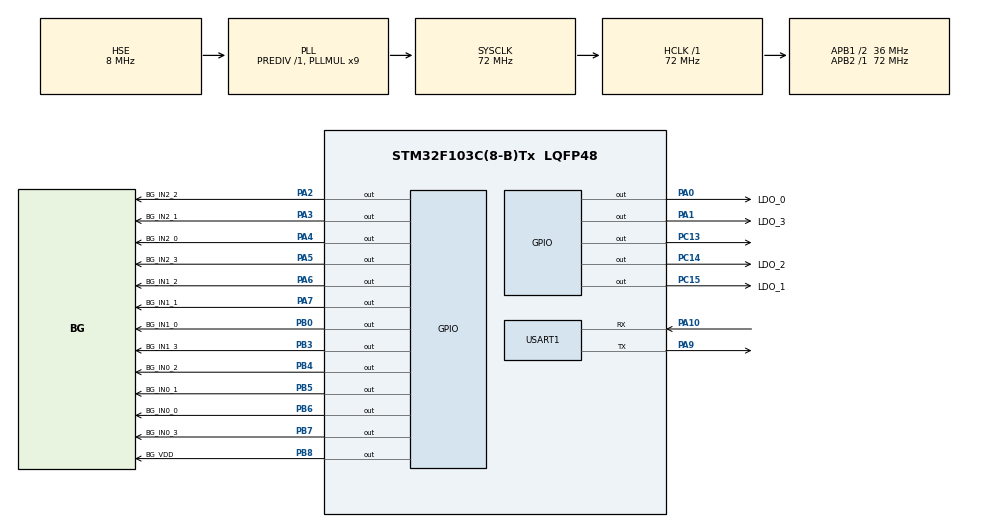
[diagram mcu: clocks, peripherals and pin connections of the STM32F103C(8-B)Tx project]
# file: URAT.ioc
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Mcu.Family=STM32F1
Mcu.Name=STM32F103C(8-B)Tx
Mcu.Package=LQFP48
NVIC.PriorityGroup=NVIC_PRIORITYGROUP_4
NVIC.TIM1_UP_IRQn=true\:0\:0\:false\:false\:true\:true\:true
NVIC.USART1_IRQn=true\:0\:0\:false\:false\:true\:true\:true
PA0-WKUP.GPIO_Label=LDO_0
PA0-WKUP.Signal=GPIO_Output
PA1.GPIO_Label=LDO_3
PA1.Signal=GPIO_Output
PA10.Mode=Asynchronous
PA10.Signal=USART1_RX
PA13.Mode=Serial_Wire
PA13.Signal=SYS_JTMS-SWDIO
PA14.Mode=Serial_Wire
PA14.Signal=SYS_JTCK-SWCLK
PA2.GPIO_Label=BG_IN2_2
PA2.Signal=GPIO_Output
PA3.GPIO_Label=BG_IN2_1
PA3.Signal=GPIO_Output
PA4.GPIO_Label=BG_IN2_0
PA4.Signal=GPIO_Output
PA5.GPIO_Label=BG_IN2_3
PA5.Signal=GPIO_Output
PA6.GPIO_Label=BG_IN1_2
PA6.Signal=GPIO_Output
PA7.GPIO_Label=BG_IN1_1
PA7.Signal=GPIO_Output
PA9.Mode=Asynchronous
PA9.Signal=USART1_TX
PB0.GPIO_Label=BG_IN1_0
PB0.Signal=GPIO_Output
PB3.GPIO_Label=BG_IN1_3
PB3.Signal=GPIO_Output
PB4.GPIO_Label=BG_IN0_2
PB4.Signal=GPIO_Output
PB5.GPIO_Label=BG_IN0_1
PB5.Signal=GPIO_Output
PB6.GPIO_Label=BG_IN0_0
PB6.Signal=GPIO_Output
PB7.GPIO_Label=BG_IN0_3
PB7.Signal=GPIO_Output
PB8.GPIO_Label=BG_VDD
PB8.Signal=GPIO_Output
PC13-TAMPER-RTC.Signal=GPIO_Output
PC14-OSC32_IN.GPIO_Label=LDO_2
PC14-OSC32_IN.Signal=GPIO_Output
PC15-OSC32_OUT.GPIO_Label=LDO_1
PC15-OSC32_OUT.Signal=GPIO_Output
PD0-OSC_IN.Mode=HSE-External-Oscillator
PD0-OSC_IN.Signal=RCC_OSC_IN
PD1-OSC_OUT.Mode=HSE-External-Oscillator
PD1-OSC_OUT.Signal=RCC_OSC_OUT
ProjectManager.HeapSize=0x200
ProjectManager.StackSize=0x400
ProjectManager.TargetToolchain=MDK-ARM V5.27
RCC.AHBFreq_Value=72000000
RCC.APB1CLKDivider=RCC_HCLK_DIV2
RCC.APB1Freq_Value=36000000
RCC.APB1TimFreq_Value=72000000
RCC.APB2Freq_Value=72000000
RCC.APB2TimFreq_Value=72000000
RCC.HCLKFreq_Value=72000000
RCC.PLLMUL=RCC_PLL_MUL9
RCC.PLLSourceVirtual=RCC_PLLSOURCE_HSE
RCC.SYSCLKFreq_VALUE=72000000
RCC.SYSCLKSource=RCC_SYSCLKSOURCE_PLLCLK
RCC.USBFreq_Value=72000000
TIM1.Period=2000-1
TIM1.Prescaler=36000-1
USART1.VirtualMode=VM_ASYNC
VP_TIM1_VS_ClockSourceINT.Mode=Internal
board=custom

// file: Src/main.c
/* USER CODE BEGIN Header */
/**
  ******************************************************************************
  * @file           : main.c
  * @brief          : Main program body
  ******************************************************************************
  * @attention
  *
  * Copyright (c) 2023 STMicroelectronics.
  * All rights reserved.
  *
  * This software is licensed under terms that can be found in the LICENSE file
  * in the root directory of this software component.
  * If no LICENSE file comes with this software, it is provided AS-IS.
  *
  ******************************************************************************
  */
/* USER CODE END Header */
#include "main.h"

/* USER CODE BEGIN Includes */

#include "string.h"
#include "stdlib.h"
/* USER CODE END Includes */

TIM_HandleTypeDef htim1;

UART_HandleTypeDef huart1;

/* USER CODE BEGIN PV */
#define RXBUFFERSIZE  1024

//如果需要开启print，就取消DEBUG注释
#define DEBUG

char rec_buffer[RXBUFFERSIZE];
char mode[128];
char setting[1024];

uint8_t Uart1_Rx_Cnt = 0;
uint8_t aRxBuffer;

// 定义16位位域结构体
typedef struct {
    unsigned int R3_IN0 : 1;  // 最低位 (Bit 0)
    unsigned int R3_IN1 : 1;  // Bit 1
    unsigned int R3_IN2 : 1;  // Bit 2
    unsigned int R3_IN3 : 1;  // Bit 3
    unsigned int R2_IN0 : 1;  // Bit 4
    unsigned int R2_IN1 : 1;  // Bit 5
    unsigned int R2_IN2 : 1;  // Bit 6
    unsigned int R2_IN3 : 1;  // Bit 7
    unsigned int R1_IN0 : 1;  // Bit 8
    unsigned int R1_IN1 : 1;  // Bit 9
    unsigned int R1_IN2 : 1;  // Bit 10
    unsigned int R1_IN3 : 1;  // Bit 11
    unsigned int LDO0  : 1;   // Bit 12
    unsigned int LDO1  : 1;   // Bit 13
    unsigned int LDO2  : 1;   // Bit 14
    unsigned int LDO3  : 1;   // 最高位 (Bit 15)
} TrimBits16;

typedef union {
    uint16_t value;
    TrimBits16 bits;
} TrimRegister16;
/* USER CODE END PV */

void SystemClock_Config(void);
static void MX_GPIO_Init(void);
static void MX_USART1_UART_Init(void);
static void MX_TIM1_Init(void);

/* USER CODE BEGIN 0 */
#include "stdio.h"
#ifdef __GNUC__
#define PUTCHAR_PROTOTYPE int __io_putchar(int ch)
#else
#define PUTCHAR_PROTOTYPE int fputc(int ch, FILE *f)
#endif
PUTCHAR_PROTOTYPE
{
    HAL_UART_Transmit(&huart1 , (uint8_t *)&ch, 1, 0xFFFF);
    return ch;
}
int fgetc(FILE *f)
{
  uint8_t ch = 0;
  HAL_UART_Receive(&huart1, &ch, 1, 0xffff);
  return ch;
}

/**
 * @brief 分割字符串函数
 * @param str 输入字符串
 * @param strLen 输入字符串长度
 * @param splitChar 分隔符字符串
 * @param index 要获取的分段索引（从1开始）
 * @param result 存储结果的缓冲区
 * @param maxLen 结果缓冲区的最大长度
 * @return 成功返回分段长度，失败返回错误码
 */
int split(const char* str, int strLen, const char* splitChar, int index, char* result, int maxLen)
{
    int i = 0;              // 循环索引
    int ret = 0;            // 返回值
    int findLen = 0;        // 可搜索的长度
    int findFlag = 0;       // 查找状态标志
    int startIndex = 0;     // 分段起始位置
    int splitCharLen = 0;   // 分隔符长度

    // 参数检查：输入字符串、结果缓冲区、分隔符不能为空，索引必须大于0
    if(NULL == str || NULL == result || NULL == splitChar || index <= 0)
    {
        return -1;  // 参数错误
    }

    // 获取分隔符长度
    splitCharLen = strlen(splitChar);

    // 计算可搜索的长度（总长度减去分隔符长度）
    findLen = strLen - splitCharLen;
    if(findLen < 0)
    {
        return -2;  // 字符串长度不足
    }

    // 遍历字符串查找分隔符
    for(; i <= findLen && str[i] != '\0'; i++)
    {
        // 检查当前位置是否匹配分隔符
        if(strncmp(&str[i], splitChar, splitCharLen) == 0)
        {
            if(0 == findFlag)  // 第一次找到分隔符（查找左边界）
            {
                startIndex++;  // 分隔符计数增加

                if(1 == index)  // 如果是第一个分段
                {
                    // 复制从开始到当前分隔符之前的内容
                    strncpy(result, &str[0], i);
                    ret = i;    // 返回分段长度
                    break;      // 结束循环
                }
                else if(startIndex + 1 == index)  // 找到目标分段的前一个分隔符
                {
                    startIndex = i;  // 记录分段起始位置（当前分隔符位置）
                    findFlag = 1;    // 设置标志，表示已找到左边界
                }
            }
            else  // 已经找到左边界，现在查找右边界（下一个分隔符）
            {
                findFlag = 2;  // 设置标志，表示已找到右边界
                break;         // 结束循环
            }
        }
    }

    // 处理找到的分段
    if(0 != findFlag && startIndex < strLen - 1)
    {
        // 计算分段长度（右边界位置 - 左边界位置 - 1）
        ret = i - startIndex - 1;

        // 检查长度是否超出缓冲区或字符串范围
        if(ret > maxLen || ret > strLen)
        {
            ret = 0;  // 长度超出限制
        }
        else if(ret > 0)
        {
            // 复制分段内容到结果缓冲区（从左边界+1开始）
            strncpy(result, &str[startIndex + 1], ret);
            ret = strlen(result);  // 返回实际复制的内容长度
        }
    }

    return ret;  // 返回结果长度或错误码
}

void POWER_control(GPIO_TypeDef *GPIOx ,uint16_t PIN_NUM,int State)
{
	if(State == 1)
	{
		//printf("ON\r\n");
		HAL_GPIO_WritePin(GPIOx,PIN_NUM,GPIO_PIN_SET);
	}
	else if(State == 0)
	{
		//printf("OFF\r\n");
		HAL_GPIO_WritePin(GPIOx,PIN_NUM,GPIO_PIN_RESET);
	}
}

// 全局变量保存上一次的setting值
static uint16_t last_setting = 0x0000; // 初始化为不可能的值
// 自定义字符检查函数
int isDigit(char c) {
    return (c >= '0' && c <= '9');
}

int isHexDigit(char c) {
    return (c >= '0' && c <= '9') ||
           (c >= 'a' && c <= 'f') ||
           (c >= 'A' && c <= 'F');
}

// 检查字符串是否为数字（十进制或十六进制）
int isNumericString(const char* str) {
    if (str == NULL || *str == '\0') {
        return 0;
    }

    // 检查十六进制格式
    if (str[0] == '0' && (str[1] == 'x' || str[1] == 'X')) {
        // 检查十六进制数字
        for (int i = 2; str[i] != '\0'; i++) {
            if (!isHexDigit(str[i])) {
                return 0;
            }
        }
        return 1;
    }

    // 检查十进制数字
    for (int i = 0; str[i] != '\0'; i++) {
        if (!isDigit(str[i])) {
            return 0;
        }
    }
    return 1;
}

// 去除字符串末尾的空白字符（换行符、空格等）
void trimWhitespace(char* str) {
    if (str == NULL) return;

    int len = strlen(str);
    while (len > 0 && (str[len-1] == '\n' || str[len-1] == '\r' || str[len-1] == ' ' || str[len-1] == '\t')) {
        str[len-1] = '\0';
        len--;
    }
}

// 根据reg.bits设置所有GPIO状态
void applyTrimSettings(TrimRegister16 reg) {
    // BG_VDD_Pin - 通常总是使能，或者根据需要控制
    POWER_control(GPIOB, BG_VDD_Pin, 1); // 总是使能BG_VDD

    // BG_IN0 组 (对应 R3_INx, Bits 0-3)
    POWER_control(GPIOB, BG_IN0_0_Pin, reg.bits.R3_IN0);
    POWER_control(GPIOB, BG_IN0_1_Pin, reg.bits.R3_IN1);
    POWER_control(GPIOB, BG_IN0_2_Pin, reg.bits.R3_IN2);
    POWER_control(GPIOB, BG_IN0_3_Pin, reg.bits.R3_IN3);

    // BG_IN1 组 (对应 R2_INx, Bits 4-7)
    POWER_control(GPIOB, BG_IN1_0_Pin, reg.bits.R2_IN0);
    POWER_control(GPIOA, BG_IN1_1_Pin, reg.bits.R2_IN1);
    POWER_control(GPIOA, BG_IN1_2_Pin, reg.bits.R2_IN2);
    POWER_control(GPIOB, BG_IN1_3_Pin, reg.bits.R2_IN3);

    // BG_IN2 组 (对应 R1_INx, Bits 8-11)
    POWER_control(GPIOA, BG_IN2_0_Pin, reg.bits.R1_IN0);
    POWER_control(GPIOA, BG_IN2_1_Pin, reg.bits.R1_IN1);
    POWER_control(GPIOA, BG_IN2_2_Pin, reg.bits.R1_IN2);
    POWER_control(GPIOA, BG_IN2_3_Pin, reg.bits.R1_IN3);

    // LDO 组 (Bits 12-15)
    POWER_control(GPIOA, LDO_0_Pin, reg.bits.LDO0);
    POWER_control(GPIOC, LDO_1_Pin, reg.bits.LDO1);
    POWER_control(GPIOC, LDO_2_Pin, reg.bits.LDO2);
    POWER_control(GPIOA, LDO_3_Pin, reg.bits.LDO3);
}

void processTrimSetting(const char* mode, const char* setting_str) {
    // 创建setting_str的副本并去除空白字符
    char clean_setting[20];
    strncpy(clean_setting, setting_str, sizeof(clean_setting) - 1);
    clean_setting[sizeof(clean_setting) - 1] = '\0';
    trimWhitespace(clean_setting);

    // 检查是否为有效的数字字符串
    if (!isNumericString(clean_setting)) {
        printf("Error: Invalid numeric string '%s'\n", clean_setting);
        return;
    }

    // 使用strtoul转换字符串为数值
    char* endptr;
    unsigned long value = strtoul(clean_setting, &endptr, 0); // 自动检测进制

    // 检查转换错误
    if (endptr == clean_setting || *endptr != '\0') {
        printf("Error: Invalid number format '%s'\n", clean_setting);
        return;
    }

    // 检查范围（0-65535）
    if (value > 0xFFFF) {
        printf("Error: Value out of range (0-65535): %s\n", clean_setting);
        return;
    }

    uint16_t setting = (uint16_t)value;

    // 检查setting是否变化
    if (setting == last_setting) {
        return;
    }

    // 更新上一次的值
    last_setting = setting;

    // 创建TrimRegister并设置值
    TrimRegister16 reg;
    reg.value = setting;

		// 应用硬件设置
    applyTrimSettings(reg);

    // 打印结果
		#if defined(DEBUG)
			printf("\n=== New Setting Received ===\n");
			printf("Mode: %s\n", mode);
			printf("Setting string: '%s'\n", clean_setting);
			printf("16-bit value: %u (0x%04X)\n", reg.value, reg.value);
			printf("Binary: ");

			// 打印二进制表示（从最高位到最低位，16位）
			for (int i = 15; i >= 0; i--) {
					printf("%d", (reg.value >> i) & 1);
					if (i % 4 == 0 && i != 0) printf(" ");
			}
			printf("\n\n");

			// 使用位域访问每一位
			printf("Bit Allocation:\n");
			printf("LDO3   (Bit 15): %d\n", reg.bits.LDO3);
			printf("LDO2   (Bit 14): %d\n", reg.bits.LDO2);
			printf("LDO1   (Bit 13): %d\n", reg.bits.LDO1);
			printf("LDO0   (Bit 12): %d\n", reg.bits.LDO0);
			printf("R1_IN3 (Bit 11): %d\n", reg.bits.R1_IN3);
			printf("R1_IN2 (Bit 10): %d\n", reg.bits.R1_IN2);
			printf("R1_IN1 (Bit 9):  %d\n", reg.bits.R1_IN1);
			printf("R1_IN0 (Bit 8):  %d\n", reg.bits.R1_IN0);
			printf("R2_IN3 (Bit 7):  %d\n", reg.bits.R2_IN3);
			printf("R2_IN2 (Bit 6):  %d\n", reg.bits.R2_IN2);
			printf("R2_IN1 (Bit 5):  %d\n", reg.bits.R2_IN1);
			printf("R2_IN0 (Bit 4):  %d\n", reg.bits.R2_IN0);
			printf("R3_IN3 (Bit 3):  %d\n", reg.bits.R3_IN3);
			printf("R3_IN2 (Bit 2):  %d\n", reg.bits.R3_IN2);
			printf("R3_IN1 (Bit 1):  %d\n", reg.bits.R3_IN1);
			printf("R3_IN0 (Bit 0):  %d\n", reg.bits.R3_IN0);
			printf("================================\n");
		#endif
}

/* USER CODE END 0 */

int main(void)
{

  /* MCU Configuration--------------------------------------------------------*/

  /* Reset of all peripherals, Initializes the Flash interface and the Systick. */
  HAL_Init();

  /* Configure the system clock */
  SystemClock_Config();

  /* Initialize all configured peripherals */
  MX_GPIO_Init();
  MX_USART1_UART_Init();
  MX_TIM1_Init();
  /* USER CODE BEGIN 2 */
	HAL_TIM_Base_Start_IT(&htim1);
	UART_Start_Receive_IT(&huart1,(uint8_t *)&aRxBuffer,1);
	printf("Start Up\r\n");
	printf("20250915 Version\r\n");

  /* USER CODE END 2 */

  /* Infinite loop */
  while (1)
  {

    /* USER CODE BEGIN 3 */

		if(strstr(mode,"Trim")!=NULL)// judge if Trim
	 /**
	 * @brief 判断是否mode是Trim
	 * @param setting 输入字符串,可以是0-65535十进制，也可以是0x0000-0xFFFF二进制
	 * @example Trim:0\n
							Trim:4095\r\n
							Trim:0x1234
							Trim:65535\t
							Trim:0x00FF\n
							Trim:0\n
	 */

		{
			processTrimSetting(mode, setting);

		}

		HAL_Delay(1000);

  }
  /* USER CODE END 3 */
}

void SystemClock_Config(void)
{
  RCC_OscInitTypeDef RCC_OscInitStruct = {0};
  RCC_ClkInitTypeDef RCC_ClkInitStruct = {0};

  /** Initializes the RCC Oscillators according to the specified parameters
  * in the RCC_OscInitTypeDef structure.
  */
  RCC_OscInitStruct.OscillatorType = RCC_OSCILLATORTYPE_HSE;
  RCC_OscInitStruct.HSEState = RCC_HSE_ON;
  RCC_OscInitStruct.HSEPredivValue = RCC_HSE_PREDIV_DIV1;
  RCC_OscInitStruct.HSIState = RCC_HSI_ON;
  RCC_OscInitStruct.PLL.PLLState = RCC_PLL_ON;
  RCC_OscInitStruct.PLL.PLLSource = RCC_PLLSOURCE_HSE;
  RCC_OscInitStruct.PLL.PLLMUL = RCC_PLL_MUL9;
  if (HAL_RCC_OscConfig(&RCC_OscInitStruct) != HAL_OK)
  {
    Error_Handler();
  }
  /** Initializes the CPU, AHB and APB buses clocks
  */
  RCC_ClkInitStruct.ClockType = RCC_CLOCKTYPE_HCLK|RCC_CLOCKTYPE_SYSCLK
                              |RCC_CLOCKTYPE_PCLK1|RCC_CLOCKTYPE_PCLK2;
  RCC_ClkInitStruct.SYSCLKSource = RCC_SYSCLKSOURCE_PLLCLK;
  RCC_ClkInitStruct.AHBCLKDivider = RCC_SYSCLK_DIV1;
  RCC_ClkInitStruct.APB1CLKDivider = RCC_HCLK_DIV2;
  RCC_ClkInitStruct.APB2CLKDivider = RCC_HCLK_DIV1;

  if (HAL_RCC_ClockConfig(&RCC_ClkInitStruct, FLASH_LATENCY_2) != HAL_OK)
  {
    Error_Handler();
  }
}

static void MX_TIM1_Init(void)
{

  TIM_ClockConfigTypeDef sClockSourceConfig = {0};
  TIM_MasterConfigTypeDef sMasterConfig = {0};

  htim1.Instance = TIM1;
  htim1.Init.Prescaler = 36000-1;
  htim1.Init.CounterMode = TIM_COUNTERMODE_UP;
  htim1.Init.Period = 2000-1;
  htim1.Init.ClockDivision = TIM_CLOCKDIVISION_DIV1;
  htim1.Init.RepetitionCounter = 0;
  htim1.Init.AutoReloadPreload = TIM_AUTORELOAD_PRELOAD_DISABLE;
  if (HAL_TIM_Base_Init(&htim1) != HAL_OK)
  {
    Error_Handler();
  }
  sClockSourceConfig.ClockSource = TIM_CLOCKSOURCE_INTERNAL;
  if (HAL_TIM_ConfigClockSource(&htim1, &sClockSourceConfig) != HAL_OK)
  {
    Error_Handler();
  }
  sMasterConfig.MasterOutputTrigger = TIM_TRGO_RESET;
  sMasterConfig.MasterSlaveMode = TIM_MASTERSLAVEMODE_DISABLE;
  if (HAL_TIMEx_MasterConfigSynchronization(&htim1, &sMasterConfig) != HAL_OK)
  {
    Error_Handler();
  }

}

static void MX_USART1_UART_Init(void)
{

  huart1.Instance = USART1;
  huart1.Init.BaudRate = 115200;
  huart1.Init.WordLength = UART_WORDLENGTH_8B;
  huart1.Init.StopBits = UART_STOPBITS_1;
  huart1.Init.Parity = UART_PARITY_NONE;
  huart1.Init.Mode = UART_MODE_TX_RX;
  huart1.Init.HwFlowCtl = UART_HWCONTROL_NONE;
  huart1.Init.OverSampling = UART_OVERSAMPLING_16;
  if (HAL_UART_Init(&huart1) != HAL_OK)
  {
    Error_Handler();
  }

}

static void MX_GPIO_Init(void)
{
  GPIO_InitTypeDef GPIO_InitStruct = {0};

  /* GPIO Ports Clock Enable */
  __HAL_RCC_GPIOC_CLK_ENABLE();
  __HAL_RCC_GPIOD_CLK_ENABLE();
  __HAL_RCC_GPIOA_CLK_ENABLE();
  __HAL_RCC_GPIOB_CLK_ENABLE();

  /*Configure GPIO pin Output Level */
  HAL_GPIO_WritePin(GPIOC, GPIO_PIN_13|LDO_2_Pin|LDO_1_Pin, GPIO_PIN_RESET);

  /*Configure GPIO pin Output Level */
  HAL_GPIO_WritePin(GPIOA, LDO_0_Pin|LDO_3_Pin|BG_IN2_2_Pin|BG_IN2_1_Pin
                          |BG_IN2_0_Pin|BG_IN2_3_Pin|BG_IN1_2_Pin|BG_IN1_1_Pin, GPIO_PIN_RESET);

  /*Configure GPIO pin Output Level */
  HAL_GPIO_WritePin(GPIOB, BG_IN1_0_Pin|BG_IN1_3_Pin|BG_IN0_2_Pin|BG_IN0_1_Pin
                          |BG_IN0_0_Pin|BG_IN0_3_Pin|BG_VDD_Pin, GPIO_PIN_RESET);

  /*Configure GPIO pins : PC13 LDO_2_Pin LDO_1_Pin */
  GPIO_InitStruct.Pin = GPIO_PIN_13|LDO_2_Pin|LDO_1_Pin;
  GPIO_InitStruct.Mode = GPIO_MODE_OUTPUT_PP;
  GPIO_InitStruct.Pull = GPIO_NOPULL;
  GPIO_InitStruct.Speed = GPIO_SPEED_FREQ_LOW;
  HAL_GPIO_Init(GPIOC, &GPIO_InitStruct);

  /*Configure GPIO pins : LDO_0_Pin LDO_3_Pin BG_IN2_2_Pin BG_IN2_1_Pin
                           BG_IN2_0_Pin BG_IN2_3_Pin BG_IN1_2_Pin BG_IN1_1_Pin */
  GPIO_InitStruct.Pin = LDO_0_Pin|LDO_3_Pin|BG_IN2_2_Pin|BG_IN2_1_Pin
                          |BG_IN2_0_Pin|BG_IN2_3_Pin|BG_IN1_2_Pin|BG_IN1_1_Pin;
  GPIO_InitStruct.Mode = GPIO_MODE_OUTPUT_PP;
  GPIO_InitStruct.Pull = GPIO_NOPULL;
  GPIO_InitStruct.Speed = GPIO_SPEED_FREQ_LOW;
  HAL_GPIO_Init(GPIOA, &GPIO_InitStruct);

  /*Configure GPIO pins : BG_IN1_0_Pin BG_IN1_3_Pin BG_IN0_2_Pin BG_IN0_1_Pin
                           BG_IN0_0_Pin BG_IN0_3_Pin BG_VDD_Pin */
  GPIO_InitStruct.Pin = BG_IN1_0_Pin|BG_IN1_3_Pin|BG_IN0_2_Pin|BG_IN0_1_Pin
                          |BG_IN0_0_Pin|BG_IN0_3_Pin|BG_VDD_Pin;
  GPIO_InitStruct.Mode = GPIO_MODE_OUTPUT_PP;
  GPIO_InitStruct.Pull = GPIO_NOPULL;
  GPIO_InitStruct.Speed = GPIO_SPEED_FREQ_LOW;
  HAL_GPIO_Init(GPIOB, &GPIO_InitStruct);

}

/* USER CODE BEGIN 4 */

void HAL_UART_RxCpltCallback(UART_HandleTypeDef *huart)
{
	UNUSED(huart);
	if(huart->Instance == USART1)
	{

		rec_buffer[Uart1_Rx_Cnt++] = aRxBuffer;
		if((rec_buffer[Uart1_Rx_Cnt-1] == 0x0A)&&(rec_buffer[Uart1_Rx_Cnt-2] == 0x0D)) //
		{
			Uart1_Rx_Cnt = 0;
			memset(mode,0x00,sizeof(mode));
			memset(setting,0x00,sizeof(setting));
			split(rec_buffer, sizeof(rec_buffer), ":", 1, mode, 16);

			split(rec_buffer, sizeof(rec_buffer), ":", 2, setting, 32);

			#if defined(DEBUG)
				printf("mode:%s\r\n",mode);
				printf("setting:%s\r\n",setting);
			#endif

			memset(rec_buffer,0x00,sizeof(rec_buffer));

			}
		}
		HAL_UART_Receive_IT(&huart1, (uint8_t *)&aRxBuffer, 1);

}

void HAL_TIM_PeriodElapsedCallback(TIM_HandleTypeDef *htim){

    if (htim->Instance == TIM1){

    }

}

/* USER CODE END 4 */

void Error_Handler(void)
{
  __disable_irq();
  while (1)
  {
  }
}
